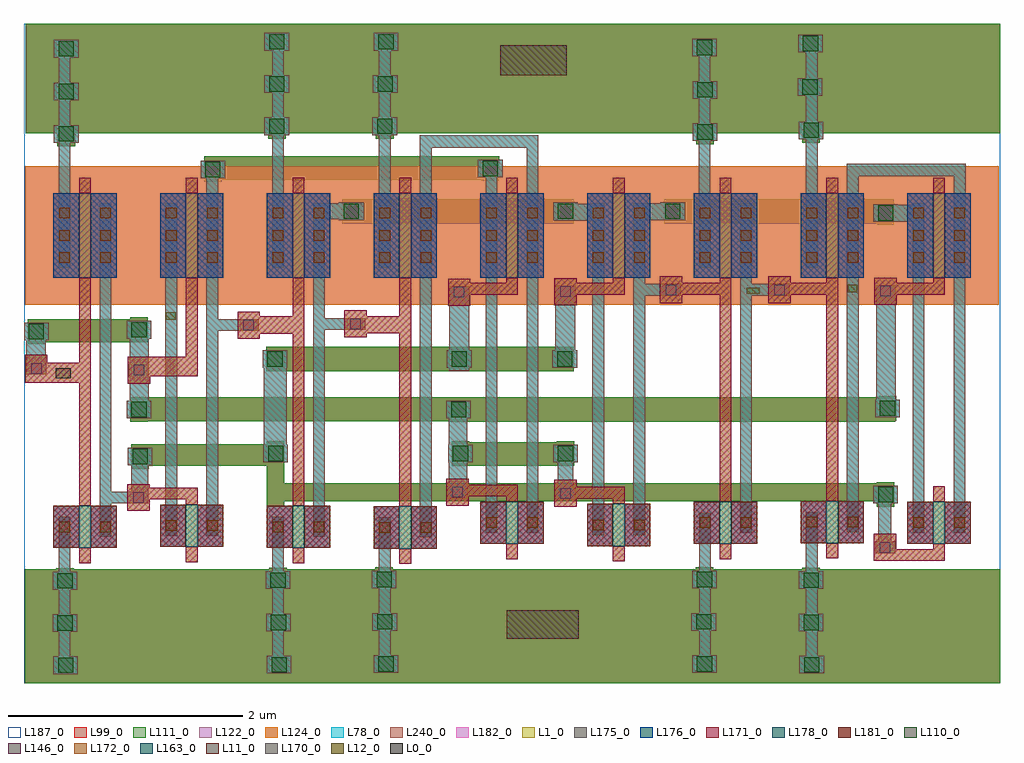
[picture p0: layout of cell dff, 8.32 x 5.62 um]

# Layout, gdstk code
import gdstk
lib = gdstk.Library(unit=1e-6, precision=1e-09)
def R(c, l, rs):  # rectangles x0, y0, x1, y1
    for r in rs: c.add(gdstk.rectangle(r[:2], r[2:], *l))
def A(c, l, x, y, w, h, nx, ny, dx, dy):  # array of equal rectangles
    R(c, l, [(x+i*dx, y+j*dy, x+i*dx+w, y+j*dy+h) for i in range(nx) for j in range(ny)])
def P(c, l, *ps):  # polygons
    for p in ps: c.add(gdstk.Polygon(p, *l))
L0_0 = (0, 0)
L1_0 = (1, 0)
L11_0 = (11, 0)
L12_0 = (12, 0)
L78_0 = (78, 0)
L99_0 = (99, 0)
L110_0 = (110, 0)
L111_0 = (111, 0)
L122_0 = (122, 0)
L124_0 = (124, 0)
L146_0 = (146, 0)
L163_0 = (163, 0)
L170_0 = (170, 0)
L171_0 = (171, 0)
L172_0 = (172, 0)
L175_0 = (175, 0)
L176_0 = (176, 0)
L178_0 = (178, 0)
L181_0 = (181, 0)
L182_0 = (182, 0)
L187_0 = (187, 0)
L240_0 = (240, 0)

dff = lib.new_cell('dff')
R(dff, L0_0, [(-7.84,0.37,-7.71,0.455)])
P(dff, L1_0, [(-7.54,2.08),(-7.54,-1.205),(-7.64,-1.205),(-7.64,0.335),(-8.1,0.335),(-8.1,0.57),(-7.91,0.57),(-7.91,0.505),(-7.64,0.505),(-7.64,2.08)],
  [(-6.63,2.08),(-6.63,0.39),(-7.035,0.39),(-7.035,0.325),(-7.225,0.325),(-7.225,0.555),(-6.73,0.555),(-6.73,2.08)],
  [(-7.04,-0.53),(-7.04,-0.56),(-6.63,-0.56),(-6.63,-1.195),(-6.73,-1.195),(-6.73,-0.66),(-7.04,-0.66),(-7.04,-0.76),(-7.23,-0.76),(-7.23,-0.53)],
  [(-5.72,2.08),(-5.72,-1.205),(-5.82,-1.205),(-5.82,0.75),(-6.1,0.75),(-6.1,0.71),(-6.29,0.71),(-6.29,0.94),(-6.1,0.94),(-6.1,0.9),(-5.82,0.9),(-5.82,2.08)],
  [(-4.81,2.08),(-4.81,-1.21),(-4.91,-1.21),(-4.91,0.755),(-5.19,0.755),(-5.19,0.72),(-5.38,0.72),(-5.38,0.95),(-5.19,0.95),(-5.19,0.9),(-4.91,0.9),(-4.91,2.08)],
  [(-3.9,2.08),(-3.9,1.085),(-4.305,1.085),(-4.305,0.99),(-4.495,0.99),(-4.495,1.22),(-4.305,1.22),(-4.305,1.185),(-4,1.185),(-4,2.08)],
  [(-2.99,2.08),(-2.99,1.085),(-3.4,1.085),(-3.4,0.995),(-3.59,0.995),(-3.59,1.225),(-3.4,1.225),(-3.4,1.185),(-3.09,1.185),(-3.09,2.08)],
  [(-3.4,-0.495),(-3.4,-0.555),(-2.99,-0.555),(-2.99,-1.19),(-3.09,-1.19),(-3.09,-0.655),(-3.4,-0.655),(-3.4,-0.725),(-3.59,-0.725),(-3.59,-0.495)],
  [(-4.32,-0.485),(-4.32,-0.535),(-3.9,-0.535),(-3.9,-1.17),(-4,-1.17),(-4,-0.635),(-4.32,-0.635),(-4.32,-0.715),(-4.51,-0.715),(-4.51,-0.485)],
  [(-2.08,2.08),(-2.08,-1.17),(-2.18,-1.17),(-2.18,1.085),(-2.5,1.085),(-2.5,1.01),(-2.69,1.01),(-2.69,1.24),(-2.5,1.24),(-2.5,1.185),(-2.18,1.185),(-2.18,2.08)],
  [(-1.17,2.08),(-1.17,-1.165),(-1.27,-1.165),(-1.27,1.085),(-1.575,1.085),(-1.575,1.01),(-1.765,1.01),(-1.765,1.24),(-1.575,1.24),(-1.575,1.185),(-1.27,1.185),(-1.27,2.08)],
  [(-0.26,2.08),(-0.26,1.085),(-0.67,1.085),(-0.67,1),(-0.86,1),(-0.86,1.23),(-0.67,1.23),(-0.67,1.185),(-0.36,1.185),(-0.36,2.08)],
  [(-0.26,-0.55),(-0.26,-1.185),(-0.865,-1.185),(-0.865,-0.955),(-0.675,-0.955),(-0.675,-1.085),(-0.36,-1.085),(-0.36,-0.55)])
R(dff, L11_0, [(-3.995,-1.85,-3.38,-1.605), (-4.05,2.955,-3.485,3.21)])
R(dff, L12_0, [(-6.9,0.87,-6.815,0.935), (-1.95,1.09,-1.84,1.145), (-1.09,1.105,-1.005,1.17)])
R(dff, L78_0, [(-6.905,-0.97,-6.805,1.865)])
P(dff, L78_0, [(-7.715,-0.81),(-7.715,-1.28),(-7.655,-1.28),(-7.655,-1.43),(-7.715,-1.43),(-7.715,-1.64),(-7.655,-1.64),(-7.655,-1.79),(-7.715,-1.79),(-7.715,-2),(-7.65,-2),(-7.65,-2.15),(-7.86,-2.15),(-7.86,-2),(-7.815,-2),(-7.815,-1.79),(-7.865,-1.79),(-7.865,-1.64),(-7.815,-1.64),(-7.815,-1.43),(-7.865,-1.43),(-7.865,-1.28),(-7.815,-1.28),(-7.815,-0.81)],
  [(-5.895,-0.81),(-5.895,-1.275),(-5.84,-1.275),(-5.84,-1.425),(-5.895,-1.425),(-5.895,-1.635),(-5.835,-1.635),(-5.835,-1.785),(-5.895,-1.785),(-5.895,-1.995),(-5.83,-1.995),(-5.83,-2.145),(-6.04,-2.145),(-6.04,-1.995),(-5.995,-1.995),(-5.995,-1.785),(-6.045,-1.785),(-6.045,-1.635),(-5.995,-1.635),(-5.995,-1.425),(-6.05,-1.425),(-6.05,-1.275),(-5.995,-1.275),(-5.995,-0.81)],
  [(-4.985,-0.815),(-4.985,-1.27),(-4.935,-1.27),(-4.935,-1.42),(-4.985,-1.42),(-4.985,-1.63),(-4.93,-1.63),(-4.93,-1.78),(-4.985,-1.78),(-4.985,-1.99),(-4.92,-1.99),(-4.92,-2.14),(-5.13,-2.14),(-5.13,-1.99),(-5.085,-1.99),(-5.085,-1.78),(-5.14,-1.78),(-5.14,-1.63),(-5.085,-1.63),(-5.085,-1.42),(-5.145,-1.42),(-5.145,-1.27),(-5.085,-1.27),(-5.085,-0.815)],
  [(-2.255,-0.775),(-2.255,-1.27),(-2.205,-1.27),(-2.205,-1.42),(-2.255,-1.42),(-2.255,-1.63),(-2.21,-1.63),(-2.21,-1.78),(-2.255,-1.78),(-2.255,-1.99),(-2.205,-1.99),(-2.205,-2.14),(-2.415,-2.14),(-2.415,-1.99),(-2.355,-1.99),(-2.355,-1.78),(-2.42,-1.78),(-2.42,-1.63),(-2.355,-1.63),(-2.355,-1.42),(-2.415,-1.42),(-2.415,-1.27),(-2.355,-1.27),(-2.355,-0.775)],
  [(-1.345,-0.77),(-1.345,-1.275),(-1.295,-1.275),(-1.295,-1.425),(-1.345,-1.425),(-1.345,-1.635),(-1.295,-1.635),(-1.295,-1.785),(-1.345,-1.785),(-1.345,-1.995),(-1.29,-1.995),(-1.29,-2.145),(-1.5,-2.145),(-1.5,-1.995),(-1.445,-1.995),(-1.445,-1.785),(-1.505,-1.785),(-1.505,-1.635),(-1.445,-1.635),(-1.445,-1.425),(-1.505,-1.425),(-1.505,-1.275),(-1.445,-1.275),(-1.445,-0.77)],
  [(-7.9,0.845),(-7.9,0.695),(-7.925,0.695),(-7.925,0.505),(-7.92,0.505),(-7.92,0.405),(-8.09,0.405),(-8.09,0.695),(-8.11,0.695),(-8.11,0.845)],
  [(-7.365,1.865),(-7.365,-0.595),(-7.195,-0.595),(-7.195,-0.37),(-7.225,-0.37),(-7.225,-0.22),(-7.015,-0.22),(-7.015,-0.37),(-7.05,-0.37),(-7.05,-0.695),(-7.365,-0.695),(-7.365,-0.98),(-7.465,-0.98),(-7.465,1.865)],
  [(-6.395,2.225),(-6.395,2.075),(-6.455,2.075),(-6.455,0.875),(-6.11,0.875),(-6.11,0.775),(-6.455,0.775),(-6.455,-0.97),(-6.555,-0.97),(-6.555,2.075),(-6.605,2.075),(-6.605,2.225)],
  [(-7.025,0.86),(-7.025,0.71),(-7.045,0.71),(-7.045,0.18),(-7.025,0.18),(-7.025,0.03),(-7.235,0.03),(-7.235,0.18),(-7.21,0.18),(-7.21,0.39),(-7.215,0.39),(-7.215,0.49),(-7.21,0.49),(-7.21,0.71),(-7.235,0.71),(-7.235,0.86)],
  [(-7.645,3.255),(-7.645,3.105),(-7.715,3.105),(-7.715,2.89),(-7.645,2.89),(-7.645,2.74),(-7.715,2.74),(-7.715,2.53),(-7.645,2.53),(-7.645,2.38),(-7.715,2.38),(-7.715,1.315),(-7.815,1.315),(-7.815,2.38),(-7.855,2.38),(-7.855,2.53),(-7.815,2.53),(-7.815,2.74),(-7.855,2.74),(-7.855,2.89),(-7.815,2.89),(-7.815,3.105),(-7.855,3.105),(-7.855,3.255)],
  [(-5.215,1.87),(-5.215,1.865),(-5.21,1.865),(-5.21,1.725),(-5.215,1.725),(-5.215,1.72),(-5.425,1.72),(-5.425,1.725),(-5.545,1.725),(-5.545,0.885),(-5.2,0.885),(-5.2,0.785),(-5.545,0.785),(-5.545,-0.98),(-5.645,-0.98),(-5.645,1.865),(-5.425,1.865),(-5.425,1.87)],
  [(-5.865,0.61),(-5.865,0.46),(-5.87,0.46),(-5.87,-0.195),(-5.86,-0.195),(-5.86,-0.345),(-6.07,-0.345),(-6.07,-0.195),(-6.065,-0.195),(-6.065,0.46),(-6.075,0.46),(-6.075,0.61)],
  [(-5.85,3.315),(-5.85,3.165),(-5.895,3.165),(-5.895,2.955),(-5.85,2.955),(-5.85,2.805),(-5.895,2.805),(-5.895,2.595),(-5.85,2.595),(-5.85,2.445),(-5.895,2.445),(-5.895,1.315),(-5.995,1.315),(-5.995,2.445),(-6.06,2.445),(-6.06,2.595),(-5.995,2.595),(-5.995,2.805),(-6.06,2.805),(-6.06,2.955),(-5.995,2.955),(-5.995,3.165),(-6.06,3.165),(-6.06,3.315)],
  [(-4.92,3.315),(-4.92,3.165),(-4.985,3.165),(-4.985,2.955),(-4.925,2.955),(-4.925,2.805),(-4.985,2.805),(-4.985,2.595),(-4.93,2.595),(-4.93,2.445),(-4.985,2.445),(-4.985,1.315),(-5.085,1.315),(-5.085,2.445),(-5.14,2.445),(-5.14,2.595),(-5.085,2.595),(-5.085,2.805),(-5.135,2.805),(-5.135,2.955),(-5.085,2.955),(-5.085,3.165),(-5.13,3.165),(-5.13,3.315)],
  [(-4.03,2.235),(-4.03,2.085),(-4.075,2.085),(-4.075,-0.945),(-4.175,-0.945),(-4.175,2.085),(-4.24,2.085),(-4.24,2.235)],
  [(-3.725,2.445),(-3.725,-0.945),(-3.825,-0.945),(-3.825,2.335),(-4.635,2.335),(-4.635,-0.985),(-4.735,-0.985),(-4.735,2.445)],
  [(-3.39,1.87),(-3.39,1.86),(-3.265,1.86),(-3.265,1.865),(-3.165,1.865),(-3.165,-0.965),(-3.265,-0.965),(-3.265,1.715),(-3.59,1.715),(-3.59,1.72),(-3.6,1.72),(-3.6,1.87)],
  [(-4.315,1.155),(-4.315,0.61),(-4.295,0.61),(-4.295,0.46),(-4.315,0.46),(-4.315,0.435),(-4.485,0.435),(-4.485,0.46),(-4.505,0.46),(-4.505,0.61),(-4.485,0.61),(-4.485,1.155)],
  [(-3.41,1.16),(-3.41,0.61),(-3.395,0.61),(-3.395,0.46),(-3.605,0.46),(-3.605,0.61),(-3.58,0.61),(-3.58,1.16)],
  [(-4.3,0.18),(-4.3,0.03),(-4.33,0.03),(-4.33,-0.195),(-4.285,-0.195),(-4.285,-0.345),(-4.33,-0.345),(-4.33,-0.65),(-4.5,-0.65),(-4.5,-0.55),(-4.49,-0.55),(-4.49,-0.345),(-4.495,-0.345),(-4.495,-0.195),(-4.49,-0.195),(-4.49,0.03),(-4.51,0.03),(-4.51,0.18)],
  [(-3.39,-0.195),(-3.39,-0.345),(-3.43,-0.345),(-3.43,-0.56),(-3.41,-0.56),(-3.41,-0.66),(-3.58,-0.66),(-3.58,-0.56),(-3.56,-0.56),(-3.56,-0.345),(-3.6,-0.345),(-3.6,-0.195)],
  [(-2.475,1.87),(-2.475,1.72),(-2.815,1.72),(-2.815,1.175),(-2.51,1.175),(-2.51,1.075),(-2.815,1.075),(-2.815,-0.965),(-2.915,-0.965),(-2.915,1.865),(-2.685,1.865),(-2.685,1.87)],
  [(-1.905,1.865),(-1.905,1.175),(-1.585,1.175),(-1.585,1.075),(-1.905,1.075),(-1.905,-0.945),(-2.005,-0.945),(-2.005,1.865)],
  [(-2.205,3.265),(-2.205,3.115),(-2.26,3.115),(-2.26,2.905),(-2.2,2.905),(-2.2,2.755),(-2.26,2.755),(-2.26,2.545),(-2.2,2.545),(-2.2,2.395),(-2.26,2.395),(-2.26,1.865),(-2.255,1.865),(-2.255,1.315),(-2.355,1.315),(-2.355,1.775),(-2.36,1.775),(-2.36,2.395),(-2.41,2.395),(-2.41,2.545),(-2.36,2.545),(-2.36,2.755),(-2.41,2.755),(-2.41,2.905),(-2.36,2.905),(-2.36,3.115),(-2.415,3.115),(-2.415,3.265)],
  [(-0.08,2.2),(-0.08,1.765),(-0.085,1.765),(-0.085,-0.945),(-0.185,-0.945),(-0.185,2.095),(-0.995,2.095),(-0.995,-0.94),(-1.095,-0.94),(-1.095,2.2)],
  [(-0.435,1.865),(-0.435,-0.945),(-0.535,-0.945),(-0.535,1.705),(-0.87,1.705),(-0.87,1.855),(-0.66,1.855),(-0.66,1.85),(-0.535,1.85),(-0.535,1.865)],
  [(-0.68,1.165),(-0.68,0.19),(-0.645,0.19),(-0.645,0.04),(-0.855,0.04),(-0.855,0.19),(-0.845,0.19),(-0.845,1.065),(-0.85,1.065),(-0.85,1.165)],
  [(-0.66,-0.545),(-0.66,-0.695),(-0.715,-0.695),(-0.715,-1.02),(-0.685,-1.02),(-0.685,-1.12),(-0.855,-1.12),(-0.855,-1.02),(-0.83,-1.02),(-0.83,-0.695),(-0.87,-0.695),(-0.87,-0.545)],
  [(-1.3,3.3),(-1.3,3.15),(-1.345,3.15),(-1.345,2.93),(-1.305,2.93),(-1.305,2.78),(-1.345,2.78),(-1.345,2.56),(-1.295,2.56),(-1.295,2.41),(-1.345,2.41),(-1.345,1.315),(-1.445,1.315),(-1.445,2.41),(-1.505,2.41),(-1.505,2.56),(-1.445,2.56),(-1.445,2.78),(-1.515,2.78),(-1.515,2.93),(-1.445,2.93),(-1.445,3.15),(-1.51,3.15),(-1.51,3.3)])
R(dff, L99_0, [(-6.045,0.43,-3.425,0.64), (-5.395,1.69,-3.42,1.9)])
P(dff, L99_0, [(-7.055,0.89),(-7.055,0.68),(-7.93,0.68),(-7.93,0.665),(-8.08,0.665),(-8.08,0.875),(-7.205,0.875),(-7.205,0.89)],
  [(-4.06,2.265),(-4.06,2.055),(-4.21,2.055),(-4.21,2.06),(-6.425,2.06),(-6.425,2.045),(-6.575,2.045),(-6.575,2.265)],
  [(-0.675,0.22),(-0.675,0.01),(-0.685,0.01),(-0.685,0),(-4.48,0),(-4.48,0.005),(-7.055,0.005),(-7.055,0),(-7.205,0),(-7.205,0.21),(-0.825,0.21),(-0.825,0.22)],
  [(-0.695,1.9),(-0.695,1.885),(-0.69,1.885),(-0.69,1.675),(-0.84,1.675),(-0.84,1.69),(-2.655,1.69),(-2.655,1.9)],
  [(-3.42,-0.165),(-3.42,-0.375),(-4.465,-0.375),(-4.465,-0.165),(-4.315,-0.165),(-4.315,-0.175),(-3.57,-0.175),(-3.57,-0.165)],
  [(-5.89,-0.165),(-5.89,-0.525),(-0.84,-0.525),(-0.84,-0.515),(-0.69,-0.515),(-0.69,-0.725),(-0.84,-0.725),(-0.84,-0.675),(-5.89,-0.675),(-5.89,-0.725),(-6.04,-0.725),(-6.04,-0.375),(-7.045,-0.375),(-7.045,-0.4),(-7.195,-0.4),(-7.195,-0.19),(-6.04,-0.19),(-6.04,-0.165)],
  [(-2.235,-1.24),(-2.235,-1.255),(-1.475,-1.255),(-1.475,-1.245),(-1.325,-1.245),(-1.325,-1.255),(0.21,-1.255),(0.21,-2.23),(-8.105,-2.23),(-8.105,-1.255),(-7.835,-1.255),(-7.835,-1.25),(-7.685,-1.25),(-7.685,-1.255),(-6.02,-1.255),(-6.02,-1.245),(-5.87,-1.245),(-5.87,-1.255),(-5.115,-1.255),(-5.115,-1.24),(-4.965,-1.24),(-4.965,-1.255),(-2.385,-1.255),(-2.385,-1.24)],
  [(0.21,3.395),(0.21,2.46),(-1.325,2.46),(-1.325,2.38),(-1.475,2.38),(-1.475,2.46),(-2.23,2.46),(-2.23,2.365),(-2.38,2.365),(-2.38,2.46),(-4.96,2.46),(-4.96,2.415),(-5.11,2.415),(-5.11,2.46),(-5.88,2.46),(-5.88,2.415),(-6.03,2.415),(-6.03,2.46),(-7.675,2.46),(-7.675,2.35),(-7.825,2.35),(-7.825,2.46),(-8.095,2.46),(-8.095,3.395)])
A(dff, L110_0, -6.02, 2.455, 0.13, 0.13, 1, 3, 0, 0.36)
R(dff, L110_0, [(-7.82,-2.14,-7.69,-2.01), (-6,-2.135,-5.87,-2.005), (-1.46,-2.135,-1.33,-2.005), (-5.09,-2.13,-4.96,-2), (-2.375,-2.13,-2.245,-2), (-7.825,-1.78,-7.695,-1.65), (-6.005,-1.775,-5.875,-1.645), (-1.465,-1.775,-1.335,-1.645), (-5.1,-1.77,-4.97,-1.64), (-2.38,-1.77,-2.25,-1.64), (-7.825,-1.42,-7.695,-1.29), (-6.01,-1.415,-5.88,-1.285), (-1.465,-1.415,-1.335,-1.285), (-5.105,-1.41,-4.975,-1.28), (-2.375,-1.41,-2.245,-1.28), (-0.83,-0.685,-0.7,-0.555), (-7.185,-0.36,-7.055,-0.23), (-6.03,-0.335,-5.9,-0.205), (-4.455,-0.335,-4.325,-0.205), (-3.56,-0.335,-3.43,-0.205), (-7.195,0.04,-7.065,0.17), (-4.47,0.04,-4.34,0.17), (-0.815,0.05,-0.685,0.18), (-6.035,0.47,-5.905,0.6), (-4.465,0.47,-4.335,0.6), (-3.565,0.47,-3.435,0.6), (-8.07,0.705,-7.94,0.835), (-7.195,0.72,-7.065,0.85), (-0.83,1.715,-0.7,1.845), (-5.385,1.73,-5.255,1.86), (-3.56,1.73,-3.43,1.86), (-2.645,1.73,-2.515,1.86), (-6.565,2.085,-6.435,2.215), (-4.2,2.095,-4.07,2.225), (-7.815,2.39,-7.685,2.52), (-2.37,2.405,-2.24,2.535), (-1.465,2.42,-1.335,2.55), (-5.1,2.455,-4.97,2.585), (-7.815,2.75,-7.685,2.88), (-2.37,2.765,-2.24,2.895), (-1.475,2.79,-1.345,2.92), (-5.095,2.815,-4.965,2.945), (-7.815,3.115,-7.685,3.245), (-2.375,3.125,-2.245,3.255), (-1.47,3.16,-1.34,3.29), (-5.09,3.175,-4.96,3.305)])
R(dff, L111_0, [(-6.045,0.43,-3.425,0.64), (-5.395,1.69,-3.42,1.9)])
P(dff, L111_0, [(-7.055,0.89),(-7.055,0.68),(-7.93,0.68),(-7.93,0.665),(-8.08,0.665),(-8.08,0.875),(-7.205,0.875),(-7.205,0.89)],
  [(-4.06,2.265),(-4.06,2.055),(-4.21,2.055),(-4.21,2.06),(-6.425,2.06),(-6.425,2.045),(-6.575,2.045),(-6.575,2.265)],
  [(-0.675,0.22),(-0.675,0.01),(-0.685,0.01),(-0.685,0),(-4.48,0),(-4.48,0.005),(-7.055,0.005),(-7.055,0),(-7.205,0),(-7.205,0.21),(-0.825,0.21),(-0.825,0.22)],
  [(-0.695,1.9),(-0.695,1.885),(-0.69,1.885),(-0.69,1.675),(-0.84,1.675),(-0.84,1.69),(-2.655,1.69),(-2.655,1.9)],
  [(-3.42,-0.165),(-3.42,-0.375),(-4.465,-0.375),(-4.465,-0.165),(-4.315,-0.165),(-4.315,-0.175),(-3.57,-0.175),(-3.57,-0.165)],
  [(-5.89,-0.165),(-5.89,-0.525),(-0.84,-0.525),(-0.84,-0.515),(-0.69,-0.515),(-0.69,-0.725),(-0.84,-0.725),(-0.84,-0.675),(-5.89,-0.675),(-5.89,-0.725),(-6.04,-0.725),(-6.04,-0.375),(-7.045,-0.375),(-7.045,-0.4),(-7.195,-0.4),(-7.195,-0.19),(-6.04,-0.19),(-6.04,-0.165)],
  [(-2.235,-1.24),(-2.235,-1.255),(-1.475,-1.255),(-1.475,-1.245),(-1.325,-1.245),(-1.325,-1.255),(0.21,-1.255),(0.21,-2.23),(-8.105,-2.23),(-8.105,-1.255),(-7.835,-1.255),(-7.835,-1.25),(-7.685,-1.25),(-7.685,-1.255),(-6.02,-1.255),(-6.02,-1.245),(-5.87,-1.245),(-5.87,-1.255),(-5.115,-1.255),(-5.115,-1.24),(-4.965,-1.24),(-4.965,-1.255),(-2.385,-1.255),(-2.385,-1.24)],
  [(0.21,3.395),(0.21,2.46),(-1.325,2.46),(-1.325,2.38),(-1.475,2.38),(-1.475,2.46),(-2.23,2.46),(-2.23,2.365),(-2.38,2.365),(-2.38,2.46),(-4.96,2.46),(-4.96,2.415),(-5.11,2.415),(-5.11,2.46),(-5.88,2.46),(-5.88,2.415),(-6.03,2.415),(-6.03,2.46),(-7.675,2.46),(-7.675,2.35),(-7.825,2.35),(-7.825,2.46),(-8.095,2.46),(-8.095,3.395)])
R(dff, L122_0, [(-8.1,1,0.2,2.18)])
R(dff, L124_0, [(-8.1,1,0.2,2.18)])
A(dff, L146_0, -7.64, 1.23, 0.1, 0.72, 9, 1, 0.91, 0)
A(dff, L163_0, -4, -1.04, 0.1, 0.36, 3, 1, 1.82, 0)
R(dff, L163_0, [(-4.91,-1.08,-4.81,-0.72), (-7.64,-1.075,-7.54,-0.715), (-5.82,-1.075,-5.72,-0.715), (-6.73,-1.065,-6.63,-0.705), (-3.09,-1.06,-2.99,-0.7), (-1.27,-1.035,-1.17,-0.675)])
R(dff, L170_0, [(-0.815,-1.115,-0.725,-1.025), (-7.18,-0.69,-7.09,-0.6), (-3.54,-0.655,-3.45,-0.565), (-4.46,-0.645,-4.37,-0.555), (-7.175,0.395,-7.085,0.485), (-8.05,0.41,-7.96,0.5), (-6.24,0.78,-6.15,0.87), (-5.33,0.79,-5.24,0.88), (-4.445,1.06,-4.355,1.15), (-3.54,1.065,-3.45,1.155), (-0.81,1.07,-0.72,1.16), (-2.64,1.08,-2.55,1.17), (-1.715,1.08,-1.625,1.17)])
A(dff, L171_0, -7.64, 1.95, 0.1, 0.13, 9, 1, 0.91, 0)
R(dff, L171_0, [(-4.91,-1.21,-4.81,-1.08), (-7.64,-1.205,-7.54,-1.075), (-5.82,-1.205,-5.72,-1.075), (-6.73,-1.195,-6.63,-1.065), (-3.09,-1.19,-2.99,-1.06), (-4,-1.17,-3.9,-1.04), (-2.18,-1.17,-2.08,-1.04), (-1.27,-1.165,-1.17,-1.035), (-0.36,-0.68,-0.26,-0.55)])
P(dff, L171_0, [(-0.675,-0.955),(-0.675,-1.085),(-0.36,-1.085),(-0.36,-1.04),(-0.26,-1.04),(-0.26,-1.185),(-0.865,-1.185),(-0.865,-0.955)],
  [(-0.26,1.23),(-0.26,1.085),(-0.67,1.085),(-0.67,1),(-0.86,1),(-0.86,1.23),(-0.67,1.23),(-0.67,1.185),(-0.36,1.185),(-0.36,1.23)],
  [(-1.575,1.24),(-1.575,1.185),(-1.27,1.185),(-1.27,1.23),(-1.17,1.23),(-1.17,-0.675),(-1.27,-0.675),(-1.27,1.085),(-1.575,1.085),(-1.575,1.01),(-1.765,1.01),(-1.765,1.24)],
  [(-2.5,1.24),(-2.5,1.185),(-2.18,1.185),(-2.18,1.23),(-2.08,1.23),(-2.08,-0.68),(-2.18,-0.68),(-2.18,1.085),(-2.5,1.085),(-2.5,1.01),(-2.69,1.01),(-2.69,1.24)],
  [(-4.32,-0.485),(-4.32,-0.535),(-3.9,-0.535),(-3.9,-0.68),(-4,-0.68),(-4,-0.635),(-4.32,-0.635),(-4.32,-0.715),(-4.51,-0.715),(-4.51,-0.485)],
  [(-3.4,-0.495),(-3.4,-0.555),(-2.99,-0.555),(-2.99,-0.7),(-3.09,-0.7),(-3.09,-0.655),(-3.4,-0.655),(-3.4,-0.725),(-3.59,-0.725),(-3.59,-0.495)],
  [(-2.99,1.23),(-2.99,1.085),(-3.4,1.085),(-3.4,0.995),(-3.59,0.995),(-3.59,1.225),(-3.4,1.225),(-3.4,1.185),(-3.09,1.185),(-3.09,1.23)],
  [(-3.9,1.23),(-3.9,1.085),(-4.305,1.085),(-4.305,0.99),(-4.495,0.99),(-4.495,1.22),(-4.305,1.22),(-4.305,1.185),(-4,1.185),(-4,1.23)],
  [(-4.81,1.23),(-4.81,-0.72),(-4.91,-0.72),(-4.91,0.755),(-5.19,0.755),(-5.19,0.72),(-5.38,0.72),(-5.38,0.95),(-5.19,0.95),(-5.19,0.9),(-4.91,0.9),(-4.91,1.23)],
  [(-5.72,1.23),(-5.72,-0.715),(-5.82,-0.715),(-5.82,0.75),(-6.1,0.75),(-6.1,0.71),(-6.29,0.71),(-6.29,0.94),(-6.1,0.94),(-6.1,0.9),(-5.82,0.9),(-5.82,1.23)],
  [(-7.04,-0.53),(-7.04,-0.56),(-6.63,-0.56),(-6.63,-0.705),(-6.73,-0.705),(-6.73,-0.66),(-7.04,-0.66),(-7.04,-0.76),(-7.23,-0.76),(-7.23,-0.53)],
  [(-6.63,1.23),(-6.63,0.39),(-7.035,0.39),(-7.035,0.325),(-7.225,0.325),(-7.225,0.555),(-6.73,0.555),(-6.73,1.23)],
  [(-7.54,1.23),(-7.54,-0.715),(-7.64,-0.715),(-7.64,0.335),(-8.1,0.335),(-8.1,0.57),(-7.91,0.57),(-7.91,0.505),(-7.64,0.505),(-7.64,1.23)])
A(dff, L172_0, -7.81, 1.355, 0.09, 0.09, 1, 3, 0, 0.19)
A(dff, L172_0, -7.46, 1.355, 0.09, 0.09, 1, 3, 0, 0.19)
A(dff, L172_0, -6.9, 1.355, 0.09, 0.09, 1, 3, 0, 0.19)
A(dff, L172_0, -6.55, 1.355, 0.09, 0.09, 1, 3, 0, 0.19)
A(dff, L172_0, -5.99, 1.355, 0.09, 0.09, 1, 3, 0, 0.19)
A(dff, L172_0, -5.64, 1.355, 0.09, 0.09, 1, 3, 0, 0.19)
A(dff, L172_0, -5.08, 1.355, 0.09, 0.09, 1, 3, 0, 0.19)
A(dff, L172_0, -4.73, 1.355, 0.09, 0.09, 1, 3, 0, 0.19)
A(dff, L172_0, -4.17, 1.355, 0.09, 0.09, 1, 3, 0, 0.19)
A(dff, L172_0, -3.82, 1.355, 0.09, 0.09, 1, 3, 0, 0.19)
A(dff, L172_0, -3.26, 1.355, 0.09, 0.09, 1, 3, 0, 0.19)
A(dff, L172_0, -2.91, 1.355, 0.09, 0.09, 1, 3, 0, 0.19)
A(dff, L172_0, -2.35, 1.355, 0.09, 0.09, 1, 3, 0, 0.19)
A(dff, L172_0, -2, 1.355, 0.09, 0.09, 1, 3, 0, 0.19)
A(dff, L172_0, -1.44, 1.355, 0.09, 0.09, 1, 3, 0, 0.19)
A(dff, L172_0, -1.09, 1.355, 0.09, 0.09, 1, 3, 0, 0.19)
A(dff, L172_0, -0.53, 1.355, 0.09, 0.09, 1, 3, 0, 0.19)
A(dff, L172_0, -0.18, 1.355, 0.09, 0.09, 1, 3, 0, 0.19)
R(dff, L172_0, [(-5.08,-0.945,-4.99,-0.855), (-4.73,-0.945,-4.64,-0.855), (-7.81,-0.94,-7.72,-0.85), (-7.46,-0.94,-7.37,-0.85), (-5.99,-0.94,-5.9,-0.85), (-5.64,-0.94,-5.55,-0.85), (-6.9,-0.93,-6.81,-0.84), (-6.55,-0.93,-6.46,-0.84), (-3.26,-0.925,-3.17,-0.835), (-2.91,-0.925,-2.82,-0.835), (-4.17,-0.905,-4.08,-0.815), (-3.82,-0.905,-3.73,-0.815), (-2.35,-0.905,-2.26,-0.815), (-2,-0.905,-1.91,-0.815), (-0.53,-0.905,-0.44,-0.815), (-0.18,-0.905,-0.09,-0.815), (-1.44,-0.9,-1.35,-0.81), (-1.09,-0.9,-1,-0.81)])
R(dff, L175_0, [(-7.86,1.23,-7.64,1.95), (-7.54,1.23,-7.32,1.95), (-6.95,1.23,-6.73,1.95), (-6.63,1.23,-6.41,1.95), (-6.04,1.23,-5.82,1.95), (-5.72,1.23,-5.5,1.95), (-5.13,1.23,-4.91,1.95), (-4.81,1.23,-4.59,1.95), (-4.22,1.23,-4,1.95), (-3.9,1.23,-3.68,1.95), (-3.31,1.23,-3.09,1.95), (-2.99,1.23,-2.77,1.95), (-2.4,1.23,-2.18,1.95), (-2.08,1.23,-1.86,1.95), (-1.49,1.23,-1.27,1.95), (-1.17,1.23,-0.95,1.95), (-0.58,1.23,-0.36,1.95), (-0.26,1.23,-0.04,1.95)])
R(dff, L176_0, [(-7.86,1.23,-7.64,1.95), (-7.54,1.23,-7.32,1.95), (-6.95,1.23,-6.73,1.95), (-6.63,1.23,-6.41,1.95), (-6.04,1.23,-5.82,1.95), (-5.72,1.23,-5.5,1.95), (-5.13,1.23,-4.91,1.95), (-4.81,1.23,-4.59,1.95), (-4.22,1.23,-4,1.95), (-3.9,1.23,-3.68,1.95), (-3.31,1.23,-3.09,1.95), (-2.99,1.23,-2.77,1.95), (-2.4,1.23,-2.18,1.95), (-2.08,1.23,-1.86,1.95), (-1.49,1.23,-1.27,1.95), (-1.17,1.23,-0.95,1.95), (-0.58,1.23,-0.36,1.95), (-0.26,1.23,-0.04,1.95)])
R(dff, L178_0, [(-5.13,-1.08,-4.91,-0.72), (-4.81,-1.08,-4.59,-0.72), (-7.86,-1.075,-7.64,-0.715), (-7.54,-1.075,-7.32,-0.715), (-6.04,-1.075,-5.82,-0.715), (-5.72,-1.075,-5.5,-0.715), (-6.95,-1.065,-6.73,-0.705), (-6.63,-1.065,-6.41,-0.705), (-3.31,-1.06,-3.09,-0.7), (-2.99,-1.06,-2.77,-0.7), (-4.22,-1.04,-4,-0.68), (-3.9,-1.04,-3.68,-0.68), (-2.4,-1.04,-2.18,-0.68), (-2.08,-1.04,-1.86,-0.68), (-0.58,-1.04,-0.36,-0.68), (-0.26,-1.04,-0.04,-0.68), (-1.49,-1.035,-1.27,-0.675), (-1.17,-1.035,-0.95,-0.675)])
R(dff, L181_0, [(-5.13,-1.08,-4.91,-0.72), (-4.81,-1.08,-4.59,-0.72), (-7.86,-1.075,-7.64,-0.715), (-7.54,-1.075,-7.32,-0.715), (-6.04,-1.075,-5.82,-0.715), (-5.72,-1.075,-5.5,-0.715), (-6.95,-1.065,-6.73,-0.705), (-6.63,-1.065,-6.41,-0.705), (-3.31,-1.06,-3.09,-0.7), (-2.99,-1.06,-2.77,-0.7), (-4.22,-1.04,-4,-0.68), (-3.9,-1.04,-3.68,-0.68), (-2.4,-1.04,-2.18,-0.68), (-2.08,-1.04,-1.86,-0.68), (-0.58,-1.04,-0.36,-0.68), (-0.26,-1.04,-0.04,-0.68), (-1.49,-1.035,-1.27,-0.675), (-1.17,-1.035,-0.95,-0.675)])
R(dff, L182_0, [(-5.13,-1.08,-4.91,-0.72), (-4.81,-1.08,-4.59,-0.72), (-7.86,-1.075,-7.64,-0.715), (-7.54,-1.075,-7.32,-0.715), (-6.04,-1.075,-5.82,-0.715), (-5.72,-1.075,-5.5,-0.715), (-6.95,-1.065,-6.73,-0.705), (-6.63,-1.065,-6.41,-0.705), (-3.31,-1.06,-3.09,-0.7), (-2.99,-1.06,-2.77,-0.7), (-4.22,-1.04,-4,-0.68), (-3.9,-1.04,-3.68,-0.68), (-2.4,-1.04,-2.18,-0.68), (-2.08,-1.04,-1.86,-0.68), (-0.58,-1.04,-0.36,-0.68), (-0.26,-1.04,-0.04,-0.68), (-1.49,-1.035,-1.27,-0.675), (-1.17,-1.035,-0.95,-0.675), (-7.86,1.23,-7.64,1.95), (-7.54,1.23,-7.32,1.95), (-6.95,1.23,-6.73,1.95), (-6.63,1.23,-6.41,1.95), (-6.04,1.23,-5.82,1.95), (-5.72,1.23,-5.5,1.95), (-5.13,1.23,-4.91,1.95), (-4.81,1.23,-4.59,1.95), (-4.22,1.23,-4,1.95), (-3.9,1.23,-3.68,1.95), (-3.31,1.23,-3.09,1.95), (-2.99,1.23,-2.77,1.95), (-2.4,1.23,-2.18,1.95), (-2.08,1.23,-1.86,1.95), (-1.49,1.23,-1.27,1.95), (-1.17,1.23,-0.95,1.95), (-0.58,1.23,-0.36,1.95), (-0.26,1.23,-0.04,1.95)])
R(dff, L187_0, [(-8.11,-2.23,0.21,3.395)])
R(dff, L240_0, [(-6.905,-0.97,-6.805,1.865)])
P(dff, L240_0, [(-7.715,-0.81),(-7.715,-1.28),(-7.655,-1.28),(-7.655,-1.43),(-7.715,-1.43),(-7.715,-1.64),(-7.655,-1.64),(-7.655,-1.79),(-7.715,-1.79),(-7.715,-2),(-7.65,-2),(-7.65,-2.15),(-7.86,-2.15),(-7.86,-2),(-7.815,-2),(-7.815,-1.79),(-7.865,-1.79),(-7.865,-1.64),(-7.815,-1.64),(-7.815,-1.43),(-7.865,-1.43),(-7.865,-1.28),(-7.815,-1.28),(-7.815,-0.81)],
  [(-5.895,-0.81),(-5.895,-1.275),(-5.84,-1.275),(-5.84,-1.425),(-5.895,-1.425),(-5.895,-1.635),(-5.835,-1.635),(-5.835,-1.785),(-5.895,-1.785),(-5.895,-1.995),(-5.83,-1.995),(-5.83,-2.145),(-6.04,-2.145),(-6.04,-1.995),(-5.995,-1.995),(-5.995,-1.785),(-6.045,-1.785),(-6.045,-1.635),(-5.995,-1.635),(-5.995,-1.425),(-6.05,-1.425),(-6.05,-1.275),(-5.995,-1.275),(-5.995,-0.81)],
  [(-4.985,-0.815),(-4.985,-1.27),(-4.935,-1.27),(-4.935,-1.42),(-4.985,-1.42),(-4.985,-1.63),(-4.93,-1.63),(-4.93,-1.78),(-4.985,-1.78),(-4.985,-1.99),(-4.92,-1.99),(-4.92,-2.14),(-5.13,-2.14),(-5.13,-1.99),(-5.085,-1.99),(-5.085,-1.78),(-5.14,-1.78),(-5.14,-1.63),(-5.085,-1.63),(-5.085,-1.42),(-5.145,-1.42),(-5.145,-1.27),(-5.085,-1.27),(-5.085,-0.815)],
  [(-2.255,-0.775),(-2.255,-1.27),(-2.205,-1.27),(-2.205,-1.42),(-2.255,-1.42),(-2.255,-1.63),(-2.21,-1.63),(-2.21,-1.78),(-2.255,-1.78),(-2.255,-1.99),(-2.205,-1.99),(-2.205,-2.14),(-2.415,-2.14),(-2.415,-1.99),(-2.355,-1.99),(-2.355,-1.78),(-2.42,-1.78),(-2.42,-1.63),(-2.355,-1.63),(-2.355,-1.42),(-2.415,-1.42),(-2.415,-1.27),(-2.355,-1.27),(-2.355,-0.775)],
  [(-1.345,-0.77),(-1.345,-1.275),(-1.295,-1.275),(-1.295,-1.425),(-1.345,-1.425),(-1.345,-1.635),(-1.295,-1.635),(-1.295,-1.785),(-1.345,-1.785),(-1.345,-1.995),(-1.29,-1.995),(-1.29,-2.145),(-1.5,-2.145),(-1.5,-1.995),(-1.445,-1.995),(-1.445,-1.785),(-1.505,-1.785),(-1.505,-1.635),(-1.445,-1.635),(-1.445,-1.425),(-1.505,-1.425),(-1.505,-1.275),(-1.445,-1.275),(-1.445,-0.77)],
  [(-7.9,0.845),(-7.9,0.695),(-7.925,0.695),(-7.925,0.505),(-7.92,0.505),(-7.92,0.405),(-8.09,0.405),(-8.09,0.695),(-8.11,0.695),(-8.11,0.845)],
  [(-7.365,1.865),(-7.365,-0.595),(-7.195,-0.595),(-7.195,-0.37),(-7.225,-0.37),(-7.225,-0.22),(-7.015,-0.22),(-7.015,-0.37),(-7.05,-0.37),(-7.05,-0.695),(-7.365,-0.695),(-7.365,-0.98),(-7.465,-0.98),(-7.465,1.865)],
  [(-6.395,2.225),(-6.395,2.075),(-6.455,2.075),(-6.455,0.875),(-6.11,0.875),(-6.11,0.775),(-6.455,0.775),(-6.455,-0.97),(-6.555,-0.97),(-6.555,2.075),(-6.605,2.075),(-6.605,2.225)],
  [(-7.025,0.86),(-7.025,0.71),(-7.045,0.71),(-7.045,0.18),(-7.025,0.18),(-7.025,0.03),(-7.235,0.03),(-7.235,0.18),(-7.21,0.18),(-7.21,0.39),(-7.215,0.39),(-7.215,0.49),(-7.21,0.49),(-7.21,0.71),(-7.235,0.71),(-7.235,0.86)],
  [(-7.645,3.255),(-7.645,3.105),(-7.715,3.105),(-7.715,2.89),(-7.645,2.89),(-7.645,2.74),(-7.715,2.74),(-7.715,2.53),(-7.645,2.53),(-7.645,2.38),(-7.715,2.38),(-7.715,1.315),(-7.815,1.315),(-7.815,2.38),(-7.855,2.38),(-7.855,2.53),(-7.815,2.53),(-7.815,2.74),(-7.855,2.74),(-7.855,2.89),(-7.815,2.89),(-7.815,3.105),(-7.855,3.105),(-7.855,3.255)],
  [(-5.215,1.87),(-5.215,1.865),(-5.21,1.865),(-5.21,1.725),(-5.215,1.725),(-5.215,1.72),(-5.425,1.72),(-5.425,1.725),(-5.545,1.725),(-5.545,0.885),(-5.2,0.885),(-5.2,0.785),(-5.545,0.785),(-5.545,-0.98),(-5.645,-0.98),(-5.645,1.865),(-5.425,1.865),(-5.425,1.87)],
  [(-5.865,0.61),(-5.865,0.46),(-5.87,0.46),(-5.87,-0.195),(-5.86,-0.195),(-5.86,-0.345),(-6.07,-0.345),(-6.07,-0.195),(-6.065,-0.195),(-6.065,0.46),(-6.075,0.46),(-6.075,0.61)],
  [(-5.85,3.315),(-5.85,3.165),(-5.895,3.165),(-5.895,2.955),(-5.85,2.955),(-5.85,2.805),(-5.895,2.805),(-5.895,2.595),(-5.85,2.595),(-5.85,2.445),(-5.895,2.445),(-5.895,1.315),(-5.995,1.315),(-5.995,2.445),(-6.06,2.445),(-6.06,2.595),(-5.995,2.595),(-5.995,2.805),(-6.06,2.805),(-6.06,2.955),(-5.995,2.955),(-5.995,3.165),(-6.06,3.165),(-6.06,3.315)],
  [(-4.92,3.315),(-4.92,3.165),(-4.985,3.165),(-4.985,2.955),(-4.925,2.955),(-4.925,2.805),(-4.985,2.805),(-4.985,2.595),(-4.93,2.595),(-4.93,2.445),(-4.985,2.445),(-4.985,1.315),(-5.085,1.315),(-5.085,2.445),(-5.14,2.445),(-5.14,2.595),(-5.085,2.595),(-5.085,2.805),(-5.135,2.805),(-5.135,2.955),(-5.085,2.955),(-5.085,3.165),(-5.13,3.165),(-5.13,3.315)],
  [(-4.03,2.235),(-4.03,2.085),(-4.075,2.085),(-4.075,-0.945),(-4.175,-0.945),(-4.175,2.085),(-4.24,2.085),(-4.24,2.235)],
  [(-3.725,2.445),(-3.725,-0.945),(-3.825,-0.945),(-3.825,2.335),(-4.635,2.335),(-4.635,-0.985),(-4.735,-0.985),(-4.735,2.445)],
  [(-3.39,1.87),(-3.39,1.86),(-3.265,1.86),(-3.265,1.865),(-3.165,1.865),(-3.165,-0.965),(-3.265,-0.965),(-3.265,1.715),(-3.59,1.715),(-3.59,1.72),(-3.6,1.72),(-3.6,1.87)],
  [(-4.315,1.155),(-4.315,0.61),(-4.295,0.61),(-4.295,0.46),(-4.315,0.46),(-4.315,0.435),(-4.485,0.435),(-4.485,0.46),(-4.505,0.46),(-4.505,0.61),(-4.485,0.61),(-4.485,1.155)],
  [(-3.41,1.16),(-3.41,0.61),(-3.395,0.61),(-3.395,0.46),(-3.605,0.46),(-3.605,0.61),(-3.58,0.61),(-3.58,1.16)],
  [(-4.3,0.18),(-4.3,0.03),(-4.33,0.03),(-4.33,-0.195),(-4.285,-0.195),(-4.285,-0.345),(-4.33,-0.345),(-4.33,-0.65),(-4.5,-0.65),(-4.5,-0.55),(-4.49,-0.55),(-4.49,-0.345),(-4.495,-0.345),(-4.495,-0.195),(-4.49,-0.195),(-4.49,0.03),(-4.51,0.03),(-4.51,0.18)],
  [(-3.39,-0.195),(-3.39,-0.345),(-3.43,-0.345),(-3.43,-0.56),(-3.41,-0.56),(-3.41,-0.66),(-3.58,-0.66),(-3.58,-0.56),(-3.56,-0.56),(-3.56,-0.345),(-3.6,-0.345),(-3.6,-0.195)],
  [(-2.475,1.87),(-2.475,1.72),(-2.815,1.72),(-2.815,1.175),(-2.51,1.175),(-2.51,1.075),(-2.815,1.075),(-2.815,-0.965),(-2.915,-0.965),(-2.915,1.865),(-2.685,1.865),(-2.685,1.87)],
  [(-1.905,1.865),(-1.905,1.175),(-1.585,1.175),(-1.585,1.075),(-1.905,1.075),(-1.905,-0.945),(-2.005,-0.945),(-2.005,1.865)],
  [(-2.205,3.265),(-2.205,3.115),(-2.26,3.115),(-2.26,2.905),(-2.2,2.905),(-2.2,2.755),(-2.26,2.755),(-2.26,2.545),(-2.2,2.545),(-2.2,2.395),(-2.26,2.395),(-2.26,1.865),(-2.255,1.865),(-2.255,1.315),(-2.355,1.315),(-2.355,1.775),(-2.36,1.775),(-2.36,2.395),(-2.41,2.395),(-2.41,2.545),(-2.36,2.545),(-2.36,2.755),(-2.41,2.755),(-2.41,2.905),(-2.36,2.905),(-2.36,3.115),(-2.415,3.115),(-2.415,3.265)],
  [(-0.08,2.2),(-0.08,1.765),(-0.085,1.765),(-0.085,-0.945),(-0.185,-0.945),(-0.185,2.095),(-0.995,2.095),(-0.995,-0.94),(-1.095,-0.94),(-1.095,2.2)],
  [(-0.435,1.865),(-0.435,-0.945),(-0.535,-0.945),(-0.535,1.705),(-0.87,1.705),(-0.87,1.855),(-0.66,1.855),(-0.66,1.85),(-0.535,1.85),(-0.535,1.865)],
  [(-0.68,1.165),(-0.68,0.19),(-0.645,0.19),(-0.645,0.04),(-0.855,0.04),(-0.855,0.19),(-0.845,0.19),(-0.845,1.065),(-0.85,1.065),(-0.85,1.165)],
  [(-0.66,-0.545),(-0.66,-0.695),(-0.715,-0.695),(-0.715,-1.02),(-0.685,-1.02),(-0.685,-1.12),(-0.855,-1.12),(-0.855,-1.02),(-0.83,-1.02),(-0.83,-0.695),(-0.87,-0.695),(-0.87,-0.545)],
  [(-1.3,3.3),(-1.3,3.15),(-1.345,3.15),(-1.345,2.93),(-1.305,2.93),(-1.305,2.78),(-1.345,2.78),(-1.345,2.56),(-1.295,2.56),(-1.295,2.41),(-1.345,2.41),(-1.345,1.315),(-1.445,1.315),(-1.445,2.41),(-1.505,2.41),(-1.505,2.56),(-1.445,2.56),(-1.445,2.78),(-1.515,2.78),(-1.515,2.93),(-1.445,2.93),(-1.445,3.15),(-1.51,3.15),(-1.51,3.3)])

lib.write_gds('dff.gds')
